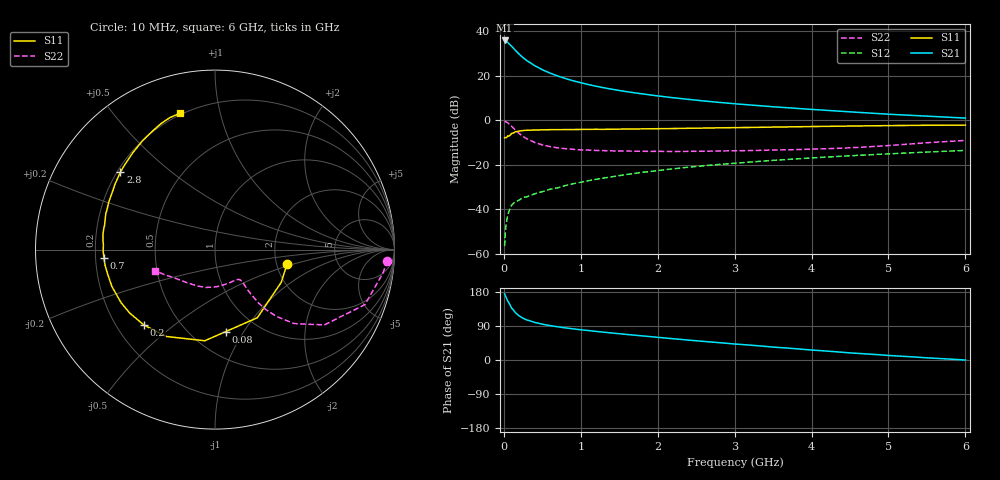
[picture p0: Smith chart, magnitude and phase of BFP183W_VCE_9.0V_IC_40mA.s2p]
! Infineon Technologies  Discrete & RF Semiconductors
! BFP183W
! VCE =  9.0 V,  IC =  40 mA
! Common Emitter S-Parameters:  Jan 2017
# GHz  S  MA  R  50
!  f  S11  S21  S12  S22
! GHz  MAG  ANG  MAG  ANG  MAG  ANG  MAG  ANG
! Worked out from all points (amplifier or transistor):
!   77 points, 10 MHz to 6 GHz, reference 50 ohm
!   highest |S21| = 35.9 dB at 10 MHz (marker M1)
!   |S21| within 3 dB of that: start of sweep to 112 MHz
!   unconditionally stable (mu >= 1): 883.7 MHz to 3.37 GHz
!   at 130 MHz: K = 0.33, MSG = 34.7 dB, |S12| = -37.1 dB
!   at 2.2 GHz: K = 1.06, MAG = 14.4 dB, |S12| = -21.8 dB
!   at 6 GHz: K = 0.85, MSG = 7.3 dB, |S12| = -13.5 dB
!   S11 on the Smith chart (normalised r, x): 10 MHz: 2.28, -0.44; 80 MHz: 0.72, -0.84; 200 MHz: 0.31, -0.40; 700 MHz: 0.23, -0.03; 2.8 GHz: 0.21, +0.34; 6 GHz: 0.19, +0.76
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0.01  0.4094 -11.3  62.34 174.8  0.0015 98.3  0.9622 -3.7
0.02  0.4117 -26.2  61.42 169.4  0.0033 92.6  0.9442 -8.1
0.05  0.4469 -58.1  56.66 155.7  0.0075 72.3  0.8902 -20.1
0.08  0.4605 -82.5  49.9 145.5  0.0104 64.2  0.7935 -28.1
0.1  0.5112 -96.4  46.47 137.2  0.0124 60.9  0.7395 -34.6
0.15  0.5549 -119.3  37.42 125.0  0.0149 53.7  0.6029 -43.1
0.2  0.5775 -133.3  30.57 116.3  0.0162 49.9  0.5056 -47.4
0.25  0.5923 -143.4  25.63 110.1  0.0186 50.0  0.4353 -49.8
0.3  0.601 -150.4  21.89 105.7  0.0193 50.4  0.3849 -50.8
0.4  0.61 -160.2  16.95 99.1  0.0225 52.2  0.3195 -51.1
0.5  0.6132 -166.9  13.71 94.5  0.0251 54.7  0.2822 -50.8
0.6  0.6189 -171.8  11.54 90.8  0.0284 55.1  0.258 -50.3
0.7  0.6206 -175.8  9.928 87.7  0.0307 58.1  0.2413 -49.7
0.9  0.6222 177.7  7.746 82.2  0.0378 60.9  0.2245 -50.0
1.1  0.6298 172.4  6.377 77.7  0.0442 62.9  0.2152 -50.9
1.5  0.6368 163.6  4.69 69.4  0.0576 63.6  0.2051 -55.4
2.1  0.6532 152.1  3.384 58.0  0.0783 62.9  0.2012 -67.2
2.8  0.6808 140.7  2.536 45.7  0.1027 60.0  0.2061 -85.2
3.1  0.691 136.3  2.292 40.8  0.1124 58.4  0.209 -93.2
4.1  0.7311 122.6  1.722 24.9  0.1469 52.5  0.2286 -119.9
5.1  0.7665 112.2  1.349 10.8  0.1807 46.2  0.2802 -146.2
6  0.7842 104.3  1.127 -0.1  0.2121 40.0  0.3549 -160.6
